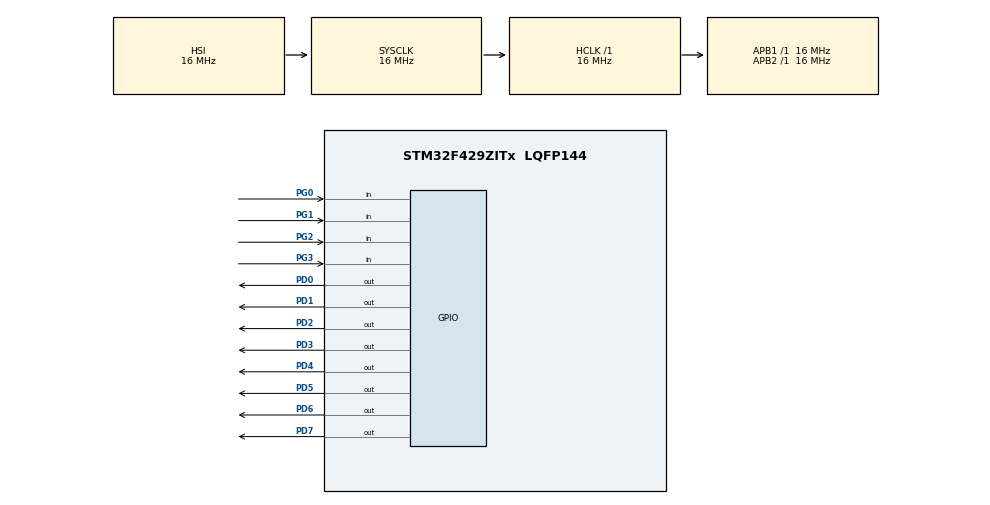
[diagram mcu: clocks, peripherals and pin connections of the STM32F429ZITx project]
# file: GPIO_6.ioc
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Mcu.Family=STM32F4
Mcu.Name=STM32F429ZITx
Mcu.Package=LQFP144
NVIC.PriorityGroup=NVIC_PRIORITYGROUP_4
PD0.GPIO_ModeDefaultOutputPP=GPIO_MODE_OUTPUT_PP
PD0.GPIO_PuPd=GPIO_PULLUP
PD0.GPIO_Speed=GPIO_SPEED_FREQ_HIGH
PD0.PinState=GPIO_PIN_SET
PD0.Signal=GPIO_Output
PD1.GPIO_ModeDefaultOutputPP=GPIO_MODE_OUTPUT_PP
PD1.GPIO_PuPd=GPIO_PULLUP
PD1.GPIO_Speed=GPIO_SPEED_FREQ_HIGH
PD1.PinState=GPIO_PIN_SET
PD1.Signal=GPIO_Output
PD2.GPIO_ModeDefaultOutputPP=GPIO_MODE_OUTPUT_PP
PD2.GPIO_PuPd=GPIO_PULLUP
PD2.GPIO_Speed=GPIO_SPEED_FREQ_HIGH
PD2.PinState=GPIO_PIN_SET
PD2.Signal=GPIO_Output
PD3.GPIO_ModeDefaultOutputPP=GPIO_MODE_OUTPUT_PP
PD3.GPIO_PuPd=GPIO_PULLUP
PD3.GPIO_Speed=GPIO_SPEED_FREQ_HIGH
PD3.PinState=GPIO_PIN_SET
PD3.Signal=GPIO_Output
PD4.GPIO_ModeDefaultOutputPP=GPIO_MODE_OUTPUT_PP
PD4.GPIO_PuPd=GPIO_PULLUP
PD4.GPIO_Speed=GPIO_SPEED_FREQ_HIGH
PD4.PinState=GPIO_PIN_SET
PD4.Signal=GPIO_Output
PD5.GPIO_ModeDefaultOutputPP=GPIO_MODE_OUTPUT_PP
PD5.GPIO_PuPd=GPIO_PULLUP
PD5.GPIO_Speed=GPIO_SPEED_FREQ_HIGH
PD5.PinState=GPIO_PIN_SET
PD5.Signal=GPIO_Output
PD6.GPIO_ModeDefaultOutputPP=GPIO_MODE_OUTPUT_PP
PD6.GPIO_PuPd=GPIO_PULLUP
PD6.GPIO_Speed=GPIO_SPEED_FREQ_HIGH
PD6.PinState=GPIO_PIN_SET
PD6.Signal=GPIO_Output
PD7.GPIO_ModeDefaultOutputPP=GPIO_MODE_OUTPUT_PP
PD7.GPIO_PuPd=GPIO_PULLUP
PD7.GPIO_Speed=GPIO_SPEED_FREQ_HIGH
PD7.PinState=GPIO_PIN_SET
PD7.Signal=GPIO_Output
PG0.GPIO_Mode=GPIO_MODE_INPUT
PG0.GPIO_PuPd=GPIO_PULLDOWN
PG0.Signal=GPIO_Input
PG1.GPIO_Mode=GPIO_MODE_INPUT
PG1.GPIO_PuPd=GPIO_PULLDOWN
PG1.Signal=GPIO_Input
PG2.GPIO_Mode=GPIO_MODE_INPUT
PG2.GPIO_PuPd=GPIO_PULLDOWN
PG2.Signal=GPIO_Input
PG3.GPIO_Mode=GPIO_MODE_INPUT
PG3.GPIO_PuPd=GPIO_PULLDOWN
PG3.Signal=GPIO_Input
ProjectManager.HeapSize=0x200
ProjectManager.StackSize=0x400
ProjectManager.TargetToolchain=STM32CubeIDE
RCC.AHBFreq_Value=16000000
RCC.APB1Freq_Value=16000000
RCC.APB2Freq_Value=16000000
RCC.CortexFreq_Value=16000000
RCC.HSE_VALUE=25000000
RCC.HSI_VALUE=16000000
RCC.LSE_VALUE=32768
RCC.SYSCLKFreq_VALUE=16000000
RCC.VCOOutputFreq_Value=192000000
board=custom

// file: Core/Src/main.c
/* USER CODE BEGIN Header */
/**
  ******************************************************************************
  * @file           : main.c
  * @brief          : Main program body
  ******************************************************************************
  * @attention
  *
  * Copyright (c) 2022 STMicroelectronics.
  * All rights reserved.
  *
  * This software is licensed under terms that can be found in the LICENSE file
  * in the root directory of this software component.
  * If no LICENSE file comes with this software, it is provided AS-IS.
  *
  ******************************************************************************
  */
/* USER CODE END Header */
#include "main.h"

void SystemClock_Config(void);
static void MX_GPIO_Init(void);
/* USER CODE BEGIN PFP */
void LED_OnOff(int, int);
/* USER CODE END PFP */

int main(void)
{
  /* USER CODE BEGIN 1 */
unsigned char led = 0x01;
  /* USER CODE END 1 */

  /* MCU Configuration--------------------------------------------------------*/

  /* Reset of all peripherals, Initializes the Flash interface and the Systick. */
  HAL_Init();

  /* Configure the system clock */
  SystemClock_Config();

  /* Initialize all configured peripherals */
  MX_GPIO_Init();
  /* USER CODE BEGIN 2 */
LED_OnOff(LED_ALL,500);
  /* USER CODE END 2 */

  /* Infinite loop */
  /* USER CODE BEGIN WHILE */
int a1 = 0x01;
int a2 = 0x03;
int a3 = 0x07;
int a4 = 0x0f;
int a5 = 0x1f;
int a6 = 0x3f;
int a7 = 0x7f;
int a8 = 0xff;

  while (1)
  {
	  if( HAL_GPIO_ReadPin(GPIO_SW, SW1) == RESET){
		  LED_OnOff(0x00,200);
		  LED_OnOff(a1,200);
		  LED_OnOff(a2,200);
	  }
	  if( HAL_GPIO_ReadPin(GPIO_SW, SW2) == RESET){
		  LED_OnOff(a1,200);
		  LED_OnOff(a2,200);
		  LED_OnOff(a3,200);
		  LED_OnOff(a4,200);
	  }
	  if( HAL_GPIO_ReadPin(GPIO_SW, SW3) == RESET){
		  LED_OnOff(a1,200);
		  LED_OnOff(a2,200);
		  LED_OnOff(a3,200);
		  LED_OnOff(a4,200);
		  LED_OnOff(a5,200);
		  LED_OnOff(a6,200);
	  }
	  if( HAL_GPIO_ReadPin(GPIO_SW, SW4) == RESET){
		  LED_OnOff(a1,200);
		  LED_OnOff(a2,200);
		  LED_OnOff(a3,200);
		  LED_OnOff(a4,200);
		  LED_OnOff(a5,200);
		  LED_OnOff(a6,200);
		  LED_OnOff(a7,200);
		  LED_OnOff(a8,200);
	  }

    /* USER CODE END WHILE */

  }
}

void SystemClock_Config(void)
{
  RCC_OscInitTypeDef RCC_OscInitStruct = {0};
  RCC_ClkInitTypeDef RCC_ClkInitStruct = {0};

  /** Configure the main internal regulator output voltage
  */
  __HAL_RCC_PWR_CLK_ENABLE();
  __HAL_PWR_VOLTAGESCALING_CONFIG(PWR_REGULATOR_VOLTAGE_SCALE3);

  /** Initializes the RCC Oscillators according to the specified parameters
  * in the RCC_OscInitTypeDef structure.
  */
  RCC_OscInitStruct.OscillatorType = RCC_OSCILLATORTYPE_HSI;
  RCC_OscInitStruct.HSIState = RCC_HSI_ON;
  RCC_OscInitStruct.HSICalibrationValue = RCC_HSICALIBRATION_DEFAULT;
  RCC_OscInitStruct.PLL.PLLState = RCC_PLL_NONE;
  if (HAL_RCC_OscConfig(&RCC_OscInitStruct) != HAL_OK)
  {
    Error_Handler();
  }

  /** Initializes the CPU, AHB and APB buses clocks
  */
  RCC_ClkInitStruct.ClockType = RCC_CLOCKTYPE_HCLK|RCC_CLOCKTYPE_SYSCLK
                              |RCC_CLOCKTYPE_PCLK1|RCC_CLOCKTYPE_PCLK2;
  RCC_ClkInitStruct.SYSCLKSource = RCC_SYSCLKSOURCE_HSI;
  RCC_ClkInitStruct.AHBCLKDivider = RCC_SYSCLK_DIV1;
  RCC_ClkInitStruct.APB1CLKDivider = RCC_HCLK_DIV1;
  RCC_ClkInitStruct.APB2CLKDivider = RCC_HCLK_DIV1;

  if (HAL_RCC_ClockConfig(&RCC_ClkInitStruct, FLASH_LATENCY_0) != HAL_OK)
  {
    Error_Handler();
  }
}

static void MX_GPIO_Init(void)
{
  GPIO_InitTypeDef GPIO_InitStruct = {0};

  /* GPIO Ports Clock Enable */
  __HAL_RCC_GPIOG_CLK_ENABLE();
  __HAL_RCC_GPIOA_CLK_ENABLE();
  __HAL_RCC_GPIOD_CLK_ENABLE();

  /*Configure GPIO pin Output Level */
  HAL_GPIO_WritePin(GPIOD, GPIO_PIN_0|GPIO_PIN_1|GPIO_PIN_2|GPIO_PIN_3
                          |GPIO_PIN_4|GPIO_PIN_5|GPIO_PIN_6|GPIO_PIN_7, GPIO_PIN_RESET);

  /*Configure GPIO pins : PG0 PG1 PG2 PG3 */
  GPIO_InitStruct.Pin = GPIO_PIN_0|GPIO_PIN_1|GPIO_PIN_2|GPIO_PIN_3;
  GPIO_InitStruct.Mode = GPIO_MODE_INPUT;
  GPIO_InitStruct.Pull = GPIO_PULLDOWN;
  HAL_GPIO_Init(GPIOG, &GPIO_InitStruct);

  /*Configure GPIO pins : PD0 PD1 PD2 PD3
                           PD4 PD5 PD6 PD7 */
  GPIO_InitStruct.Pin = GPIO_PIN_0|GPIO_PIN_1|GPIO_PIN_2|GPIO_PIN_3
                          |GPIO_PIN_4|GPIO_PIN_5|GPIO_PIN_6|GPIO_PIN_7;
  GPIO_InitStruct.Mode = GPIO_MODE_OUTPUT_PP;
  GPIO_InitStruct.Pull = GPIO_PULLUP;
  GPIO_InitStruct.Speed = GPIO_SPEED_FREQ_HIGH;
  HAL_GPIO_Init(GPIOD, &GPIO_InitStruct);

}

/* USER CODE BEGIN 4 */
void LED_OnOff(int led, int interval)
{
	HAL_GPIO_WritePin(GPIO_LED, led, GPIO_PIN_SET);
	HAL_Delay(interval);
	HAL_GPIO_WritePin(GPIO_LED, led, GPIO_PIN_RESET);
}
/* USER CODE END 4 */

void Error_Handler(void)
{
  __disable_irq();
  while (1)
  {
  }
}
